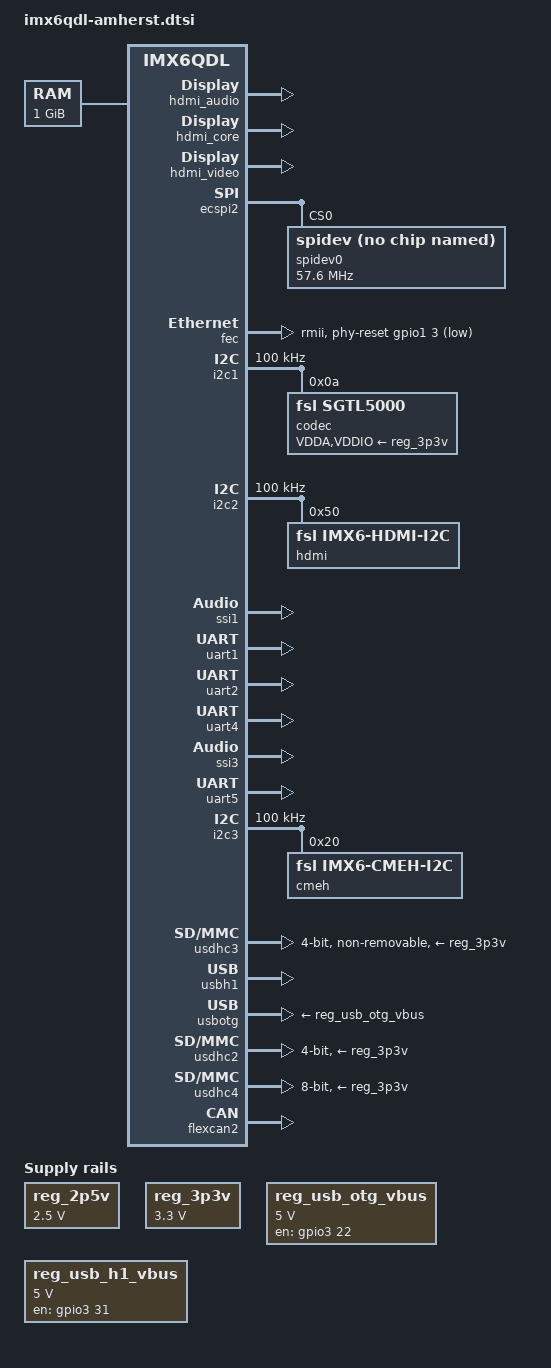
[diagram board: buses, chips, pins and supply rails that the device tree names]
/*
 * Copyright 2015-2016 Info2Go
 * Copyright 2012 Freescale Semiconductor, Inc.
 * Copyright 2011 Linaro Ltd.
 *
 * The code contained herein is licensed under the GNU General Public
 * License. You may obtain a copy of the GNU General Public License
 * Version 2 or later at the following locations:
 *
 * http://www.opensource.org/licenses/gpl-license.html
 * http://www.gnu.org/copyleft/gpl.html
 */

/ {
	aliases {
		mxcfb0 = &mxcfb1;
		/* mxcfb1 = &mxcfb2;
		mxcfb2 = &mxcfb3;
		mxcfb3 = &mxcfb4;*/
	};

	memory {
		reg = <0x10000000 0x40000000>;
	};

	regulators {
		compatible = "simple-bus";

		reg_2p5v: 2p5v {
			compatible = "regulator-fixed";
			regulator-name = "2P5V";
			regulator-min-microvolt = <2500000>;
			regulator-max-microvolt = <2500000>;
			regulator-always-on;
		};

		reg_3p3v: 3p3v {
			compatible = "regulator-fixed";
			regulator-name = "3P3V";
			regulator-min-microvolt = <3300000>;
			regulator-max-microvolt = <3300000>;
			regulator-always-on;
		};

		reg_usb_otg_vbus: usb_otg_vbus {
			compatible = "regulator-fixed";
			regulator-name = "usb_otg_vbus";
			regulator-min-microvolt = <5000000>;
			regulator-max-microvolt = <5000000>;
			gpio = <&gpio3 22 0>;
			enable-active-high;
		};

		reg_usb_h1_vbus: usb_h1_vbus {
			compatible = "regulator-fixed";
			regulator-name = "usb_h1_vbus";
			regulator-min-microvolt = <5000000>;
			regulator-max-microvolt = <5000000>;
			gpio = <&gpio3 31 0>;
			enable-active-high;
		};
	
		/*reg_audio: wm8962_supply {
                        compatible = "regulator-fixed";
                        regulator-name = "wm8962-supply";
                        gpio = <&gpio4 10 0>;
                        enable-active-high;
                };

		reg_mipi_dsi_pwr_on: mipi_dsi_pwr_on {
			compatible = "regulator-fixed";
			regulator-name = "mipi_dsi_pwr_on";
			gpio = <&gpio6 14 0>;
			enable-active-high;
		};

		reg_sensor: sensor_supply {
			compatible = "regulator-fixed";
			regulator-name = "sensor-supply";
			regulator-min-microvolt = <3300000>;
			regulator-max-microvolt = <3300000>;
			gpio = <&gpio2 31 0>;
			startup-delay-us = <500>;
			enable-active-high;
		};*/
	};

	sound-hdmi {
		compatible = "fsl,imx6q-audio-hdmi",
			     "fsl,imx-audio-hdmi";
		model = "imx-audio-hdmi";
		hdmi-controller = <&hdmi_audio>;
	};

	sound {
		compatible = "fsl,imx6q-amherst-sgtl5000",
			     "fsl,imx-audio-sgtl5000";
		model = "imx6q-amherst-sgtl5000";
		ssi-controller = <&ssi1>;
		audio-codec = <&codec>;
		audio-routing =
			"MIC_IN", "Mic Jack",
			/*"Mic Jack", "Mic Bias",*/
			"LINE_IN", "Line In Jack",
			"Line Out Jack", "LINE OUT",
			"Headphone Jack", "HP_OUT";
		mux-int-port = <3>;
		mux-ext-port = <4>;
	};

	mxcfb1: fb@0 {
		compatible = "fsl,mxc_sdc_fb";
		disp_dev = "hdmi";
		interface_pix_fmt = "RGB24";
		mode_str ="1920x1080M@60";
		default_bpp = <24>;
		int_clk = <0>;
		late_init = <0>;
		status = "disabled";
	};

	/* mxcfb2: fb@1 {
		compatible = "fsl,mxc_sdc_fb";
		disp_dev = "ldb";
		interface_pix_fmt = "RGB666";
		mode_str ="LDB-1080P75";
		default_bpp = <32>;
		int_clk = <0>;
		late_init = <0>;
		status = "disabled";
	};

	mxcfb3: fb@2 {
		compatible = "fsl,mxc_sdc_fb";
		disp_dev = "lcd";
		interface_pix_fmt = "RGB565";
		mode_str ="CLAA-WVGA";
		default_bpp = <16>;
		int_clk = <0>;
		late_init = <0>;
		status = "disabled";
	};

	mxcfb4: fb@3 {
		compatible = "fsl,mxc_sdc_fb";
		disp_dev = "ldb";
		interface_pix_fmt = "RGB666";
		mode_str ="LDB-XGA";
		default_bpp = <16>;
		int_clk = <0>;
		late_init = <0>;
		status = "disabled";
	};

	lcd@0 {
		compatible = "fsl,lcd";
		ipu_id = <0>;
		disp_id = <0>;
		default_ifmt = "RGB565";
		pinctrl-names = "default";
		pinctrl-0 = <&pinctrl_ipu1_1>;
		status = "okay";
	};*/


	v4l2_out {
		compatible = "fsl,mxc_v4l2_output";
		status = "okay";
	};

       sgtl_clk: sgtl_clk {
		 compatible = "fixed-clock";
		 #clock-cells = <0>;
		 clock-frequency = <24000000>;
		 clock-output-names = "sgtl-clk";
       };
};

&hdmi_audio {
	status = "okay";
};

&hdmi_core {
	ipu_id = <0>;
	disp_id = <0>;
	status = "okay";
};

&hdmi_video {
	fsl,phy_reg_vlev = <0x0294>;
	fsl,phy_reg_cksymtx = <0x800d>;
	status = "okay";
};

/*&audmux {
	status = "okay";
	pinctrl-names = "default";
	pinctrl-0 = <&pinctrl_audmux_2>;
};*/

/*
&ecspi1 {
        fsl,spi-num-chipselects = <1>;
        cs-gpios = <&gpio3 19 0>;
        pinctrl-names = "default";
        pinctrl-0 = <&pinctrl_ecspi1_1>;
        status = "okay";

        flash: m25p80@0 {
                compatible = "sst,sst25vf016b";
                spi-max-frequency = <20000000>;
                reg = <0>;
        };
};
	fsl,spi-num-chipselects = <2>;
	cs-gpios = <&gpio2 26 0>, <&gpio2 27 0>;
	
	flash: m25p80@0 {
                compatible = "sst,sst25vf016b";
                spi-max-frequency = <20000000>;
                reg = <0>;
        };
*/


&ecspi2 {
	fsl,spi-num-chipselects = <1>;
	pinctrl-names = "default";
	pinctrl-0 = <&pinctrl_ecspi2 &pinctrl_ecspi2_cs_1>;
	status = "okay";

	spidev0:spidev@0 {
		compatible = "spidev";
		spi-max-frequency = <57600000>;
		reg = <0>;
	};
        
};

&fec {
	pinctrl-names = "default";
	pinctrl-0 = <&pinctrl_enet_1>;
	phy-mode = "rmii";
	phy-reset-gpios = <&gpio1 3 0>;
	status = "okay";
};

/* MOE: check clocks */
&i2c1 {
	status = "okay";
	clock-frequency = <100000>;
	pinctrl-names = "default";
	pinctrl-0 = <&pinctrl_i2c1_2>;

	codec: sgtl5000@0a {
		compatible = "fsl,sgtl5000";
		reg = <0x0a>;
		clocks = <&clks 201>;
		/*clock-names = "csi_mclk";
		mclk = <24000000>;
		mclk_source = <0>;*/
		VDDA-supply = <&reg_3p3v>;
		VDDIO-supply = <&reg_3p3v>;
		/*DOVDD-supply = <&reg_3p3v>;
		AVDD-supply = <&reg_3p3v>;
		DVDD-supply = <&reg_3p3v>;*/
	};
};

&i2c2 {
	status = "okay";
	clock-frequency = <100000>;
	pinctrl-names = "default";
	pinctrl-0 = <&pinctrl_i2c2_1>;

	hdmi: edid@50 {
		compatible = "fsl,imx6-hdmi-i2c";
		reg = <0x50>;
	};
};

/* MOE: Check ssi1 */
&ssi1 {
	fsl,mode = "i2s-slave";
	pinctrl-0 = <&pinctrl_audmux_2>;
	status = "okay";
};

&uart1 {
	status = "okay";
	pinctrl-names = "default";
	pinctrl-0 = <&pinctrl_uart1_1>;
};

&uart2 {
	status = "okay";
	pinctrl-names = "default";
	pinctrl-0 = <&pinctrl_uart2_3>;
};

&uart4 {
	status = "okay";
	pinctrl-names = "default";
	pinctrl-0 = <&pinctrl_uart4_2>;
};

/* WiFi setup */
&ssi3 {
	fsl,mode = "i2s-slave";
	pinctrl-0 = <&pinctrl_audmux_5>;
	status = "okay";
};
&uart5 {
	status = "okay";
	pinctrl-names = "default";
	pinctrl-0 = <&pinctrl_uart5_1>;
};

&i2c3 {
	status = "okay";
	clock-frequency = <100000>;
	pinctrl-names = "default";
	pinctrl-0 = <&pinctrl_i2c3_1>;

	cmeh: cmeh@20 {
		compatible = "fsl,imx6-cmeh-i2c";
		reg = <0x20>;
	};
};

&usdhc3 {
	pinctrl-names = "default";
	pinctrl-0 = <&pinctrl_wifi>;
	vmmc-supply = <&reg_3p3v>;
	no-1-8-v;
	bus-width = <4>;
	status = "okay";
	wifi-host;
	non-removable;
	keep-power-in-suspend;
};
/* End of WiFi setup */

&usbh1 {
	status = "okay";
};

&usbotg {
	vbus-supply = <&reg_usb_otg_vbus>;
	pinctrl-names = "default";
	pinctrl-0 = <&pinctrl_usbotg_1>;
	disable-over-current;
	status = "okay";
};

&usdhc2 {
	pinctrl-names = "default";
	pinctrl-0 = <&pinctrl_usdhc2_1>;
	vmmc-supply = <&reg_3p3v>;
	no-1-8-v;
	bus-width = <4>;
	status = "okay";
};

&usdhc4 {
	pinctrl-names = "default";
	pinctrl-0 = <&pinctrl_usdhc4_1>;
	vmmc-supply = <&reg_3p3v>;
	no-1-8-v;
	bus-width = <8>;
	status = "okay";
};

&flexcan2 {
	pinctrl-names = "default";
	pinctrl-0 = <&pinctrl_flexcan2_1>;
	status = "okay";
};


/* MOE: Check iomuxc */
&iomuxc {
	pinctrl-names = "default";
	pinctrl-0 = <&pinctrl_hog>;

	hog {
		pinctrl_hog: hoggrp {
			fsl,pins = <
				/* SD card power enable */
				MX6QDL_PAD_GPIO_18__GPIO7_IO13		0x80000000
				MX6QDL_PAD_DISP0_DAT22__GPIO5_IO16		0x80000000
				MX6QDL_PAD_DISP0_DAT23__GPIO5_IO17		0x80000000
				/* Clock for WiFi and SGTL5000 */
				MX6QDL_PAD_GPIO_0__CCM_CLKO1    	0x130b0
			>;
		};
	};
};

/* Option PWM */
/* Display PWM and Control */
/* Relay */
/* LEDs */
